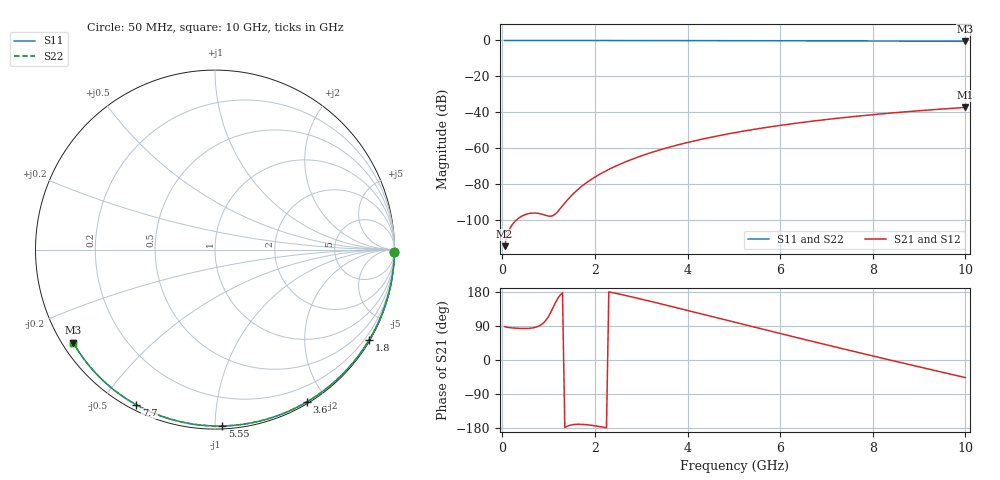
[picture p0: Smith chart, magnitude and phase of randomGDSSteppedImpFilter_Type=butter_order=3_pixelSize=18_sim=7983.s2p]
! freq	dB(S11)	phase(S11)	dB(S12)	phase(S12)
!  dB(S21)	phase(S21)	dB(S22)	phase(S22)
!S-par simulation data
#  GHz  S  DB  R 50
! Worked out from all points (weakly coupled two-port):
!   200 points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, 50 MHz to 10 GHz, reference 50 ohm
!   highest |S21| = -37.31 dB at 10 GHz (marker M1); lowest = -114.6 dB at 50 MHz (marker M2)
!   lowest |S11| = -0.5 dB at 10 GHz (marker M3), VSWR 35.37, Z = 1.54 - j14.9 ohm
!   |S11| at or under -10 dB: nowhere
!   |S22| runs from -0.5 to 0.0 dB; largest |S21 - S12| = 0
!   S11 on the Smith chart (normalised r, x): 50 MHz: open; 1.8 GHz: 0.03, -3.70; 3.6 GHz: 0.02, -1.77; 5.55 GHz: 0.02, -1.04; 7.7 GHz: 0.02, -0.61; 10 GHz: 0.03, -0.30
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0.05  -0.00 -0.9  -114.64 88.0  -114.64 88.0  -0.00 -0.9
0.45  -0.01 -7.7  -97.53 83.2  -97.53 83.2  -0.01 -7.7
0.9  -0.02 -15.3  -97.17 99.0  -97.17 99.0  -0.02 -15.3
1.3  -0.03 -21.9  -92.14 177.5  -92.14 177.5  -0.03 -21.9
1.75  -0.04 -29.4  -80.57 -170.0  -80.57 -170.0  -0.04 -29.4
1.8  -0.04 -30.2  -79.60 -170.5  -79.60 -170.5  -0.04 -30.2
1.95  -0.04 -32.7  -76.95 -172.6  -76.95 -172.6  -0.04 -32.7
2.1  -0.04 -35.1  -74.62 -175.6  -74.62 -175.6  -0.04 -35.1
2.3  -0.05 -38.4  -71.86 179.8  -71.86 179.8  -0.05 -38.4
2.5  -0.05 -41.6  -69.42 174.7  -69.42 174.7  -0.05 -41.6
2.9  -0.06 -48.0  -65.26 163.6  -65.26 163.6  -0.06 -48.0
3.4  -0.07 -55.8  -61.01 148.9  -61.01 148.9  -0.07 -55.8
3.6  -0.08 -58.9  -59.53 142.9  -59.53 142.9  -0.08 -58.9
4.3  -0.10 -69.5  -55.08 121.6  -55.08 121.6  -0.10 -69.5
5.05  -0.12 -80.5  -51.24 98.7  -51.24 98.7  -0.12 -80.5
5.55  -0.14 -87.7  -49.07 83.5  -49.07 83.5  -0.14 -87.7
6.1  -0.17 -95.4  -46.97 66.9  -46.97 66.9  -0.17 -95.4
6.7  -0.20 -103.6  -44.95 48.9  -44.95 48.9  -0.20 -103.6
7.7  -0.27 -116.9  -42.11 19.4  -42.11 19.4  -0.27 -116.9
8.35  -0.32 -125.4  -40.54 0.6  -40.54 0.6  -0.32 -125.4
9.2  -0.40 -136.4  -38.76 -23.8  -38.76 -23.8  -0.40 -136.4
10  -0.49 -146.7  -37.31 -46.4  -37.31 -46.4  -0.49 -146.7
